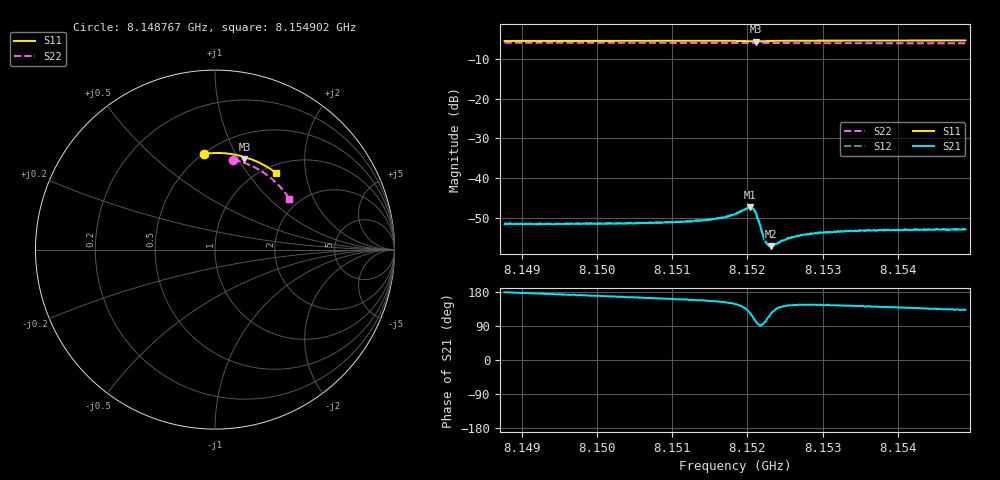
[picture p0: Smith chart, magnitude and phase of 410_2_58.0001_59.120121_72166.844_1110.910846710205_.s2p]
#  HZ  S  RI  R  50.00
! Rohde & Schwarz Vector Network Analyzer
! Rohde-Schwarz,ZNB20-2Port,1311601062101988,3.16
! Created: UTC 3/21/2024, 1:08:42 AM
! freq[Hz]  re:S11  im:S11  re:S21  im:S21  re:S12  im:S12  re:S22  im:S22
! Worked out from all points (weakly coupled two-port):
!   401 points, 8.148767 GHz to 8.154902 GHz, reference 50 ohm
!   highest |S21| = -47.43 dB at 8.152034 GHz (marker M1); lowest = -57.2 dB at 8.15231 GHz (marker M2)
!   lowest |S11| = -5.5 dB at 8.15211 GHz (marker M3), VSWR 3.24, Z = 37.9 + j52.8 ohm
!   |S11| at or under -10 dB: nowhere
!   |S22| runs from -6.0 to -5.8 dB; largest |S21 - S12| = 0.00012
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8.1487665e9  -0.06 0.5331  -0.0026 6.28e-05  -0.00264 0.000106  0.1026 0.501
8.1497942e9  0.0115 0.5381  -0.0026 0.000398  -0.00262 0.000468  0.1663 0.4821
8.1508218e9  0.083 0.5335  -0.00259 0.0008  -0.0026 0.000861  0.2268 0.4553
8.15142e9  0.1246 0.5261  -0.00273 0.00113  -0.00269 0.00119  0.2596 0.4362
8.1516654e9  0.1422 0.5216  -0.00282 0.00142  -0.00283 0.00151  0.2729 0.4275
8.1518341e9  0.1547 0.5172  -0.00296 0.00186  -0.00295 0.00192  0.2817 0.4214
8.1520029e9  0.1662 0.508  -0.00273 0.00317  -0.00273 0.00323  0.2902 0.4149
8.1520335e9  0.1669 0.5053  -0.00238 0.00352  -0.00236 0.00353  0.2918 0.4137
8.1520795e9  0.1658 0.5023  -0.00148 0.00377  -0.00145 0.00382  0.294 0.4121
8.1521102e9  0.1643 0.5021  -0.000757 0.00357  -0.000755 0.0036  0.2954 0.4108
8.1521409e9  0.1636 0.5035  -0.000246 0.00303  -0.000232 0.00306  0.2968 0.4098
8.1522022e9  0.166 0.5072  -0.000156 0.00195  -7.44e-05 0.00195  0.3 0.4077
8.1522329e9  0.1684 0.5086  -0.000294 0.00159  -0.00028 0.00162  0.3015 0.4065
8.1522636e9  0.1711 0.5092  -0.000497 0.00137  -0.000459 0.00137  0.3031 0.4054
8.1523096e9  0.1752 0.5093  -0.000718 0.00118  -0.000697 0.00119  0.3055 0.4036
8.1523556e9  0.179 0.5092  -0.000913 0.00109  -0.00091 0.0011  0.3078 0.4018
8.152555e9  0.1943 0.5057  -0.0014 0.00102  -0.00141 0.00108  0.3175 0.3936
8.1527237e9  0.206 0.5016  -0.00159 0.00106  -0.00157 0.0011  0.3256 0.3867
8.1528618e9  0.2153 0.4981  -0.00164 0.00111  -0.00163 0.00117  0.3323 0.3807
8.1532299e9  0.2393 0.4879  -0.00172 0.00124  -0.00169 0.00124  0.349 0.3648
8.1538894e9  0.2801 0.4669  -0.00167 0.00143  -0.00167 0.00143  0.3771 0.3341
8.1549017e9  0.3383 0.4284  -0.00152 0.00165  -0.00151 0.0017  0.4146 0.283
